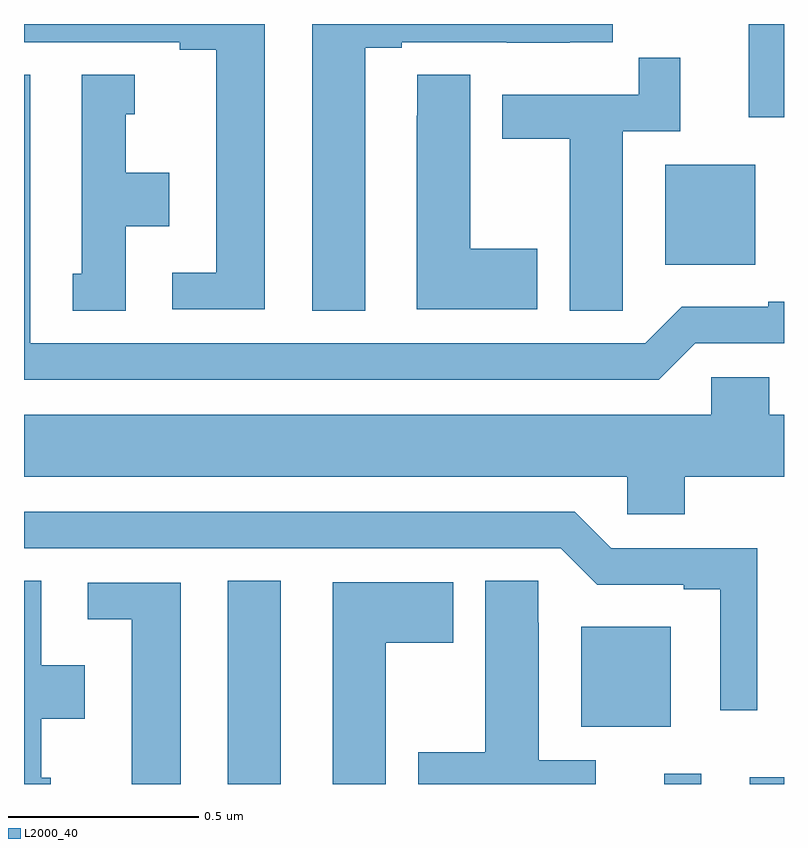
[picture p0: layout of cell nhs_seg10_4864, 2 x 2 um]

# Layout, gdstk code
import gdstk
lib = gdstk.Library(unit=1e-6, precision=1e-09)
def R(c, l, rs):  # rectangles x0, y0, x1, y1
    for r in rs: c.add(gdstk.rectangle(r[:2], r[2:], *l))
def P(c, l, *ps):  # polygons
    for p in ps: c.add(gdstk.Polygon(p, *l))
L2000_40 = (2000, 40)

nhs_seg10_4864 = lib.new_cell('nhs_seg10_4864')
R(nhs_seg10_4864, L2000_40, [(171.536,1307.5,171.676,1308.035), (172.685,1307.5,172.782,1307.527), (172.91,1307.5,173,1307.518), (172.466,1307.651,172.702,1307.914), (172.688,1308.866,172.924,1309.129), (172.907,1309.254,173,1309.5)])
P(nhs_seg10_4864, L2000_40, [(171.634,1309.5),(171,1309.5),(171,1309.452),(171.41,1309.452),(171.41,1309.432),(171.506,1309.432),(171.506,1308.846),(171.39,1308.846),(171.39,1308.75),(171.634,1308.75)],
  [(171.898,1309.437),(171.994,1309.437),(171.994,1309.452),(172.27,1309.452),(172.27,1309.451),(172.436,1309.451),(172.436,1309.452),(172.549,1309.452),(172.549,1309.5),(171.758,1309.5),(171.758,1308.745),(171.898,1308.745)],
  [(172.575,1308.856),(172.576,1308.856),(172.576,1309.218),(172.727,1309.218),(172.727,1309.411),(172.618,1309.411),(172.618,1309.314),(172.259,1309.314),(172.259,1309.198),(172.436,1309.198),(172.436,1308.745),(172.575,1308.745)],
  [(172.351,1308.909),(172.174,1308.909),(172.174,1309.367),(172.035,1309.367),(172.035,1309.259),(172.034,1309.259),(172.034,1308.749),(172.351,1308.749)],
  [(171.268,1308.968),(171.382,1308.968),(171.382,1309.108),(171.268,1309.108),(171.268,1309.263),(171.292,1309.263),(171.292,1309.366),(171.152,1309.366),(171.152,1308.843),(171.128,1308.843),(171.128,1308.745),(171.268,1308.745)],
  [(172.767,1308.66),(173,1308.66),(173,1308.769),(172.958,1308.769),(172.958,1308.756),(172.731,1308.756),(172.635,1308.66),(171.016,1308.66),(171.016,1309.366),(171,1309.366),(171,1308.564),(172.671,1308.564)],
  [(172.739,1308.308),(173,1308.308),(173,1308.472),(172.961,1308.472),(172.961,1308.57),(172.809,1308.57),(172.809,1308.472),(171,1308.472),(171,1308.308),(172.587,1308.308),(172.587,1308.21),(172.739,1308.21)],
  [(172.929,1308.12),(172.545,1308.12),(172.449,1308.216),(171,1308.216),(171,1308.12),(172.413,1308.12),(172.509,1308.024),(172.736,1308.024),(172.736,1308.012),(172.832,1308.012),(172.832,1307.694),(172.929,1307.694)],
  [(172.505,1307.562),(172.354,1307.562),(172.354,1307.924),(172.353,1307.924),(172.353,1308.035),(172.214,1308.035),(172.214,1307.583),(172.037,1307.583),(172.037,1307.5),(172.505,1307.5)],
  [(171.07,1307.517),(171.046,1307.517),(171.046,1307.672),(171.16,1307.672),(171.16,1307.812),(171.046,1307.812),(171.046,1308.035),(171,1308.035),(171,1307.5),(171.07,1307.5)],
  [(171.952,1307.872),(172.129,1307.872),(172.129,1308.031),(171.812,1308.031),(171.812,1307.521),(171.813,1307.521),(171.813,1307.5),(171.952,1307.5)],
  [(171.412,1308.03),(171.168,1308.03),(171.168,1307.934),(171.284,1307.934),(171.284,1307.5),(171.412,1307.5)])

lib.write_gds('nhs_seg10_4864.gds')
